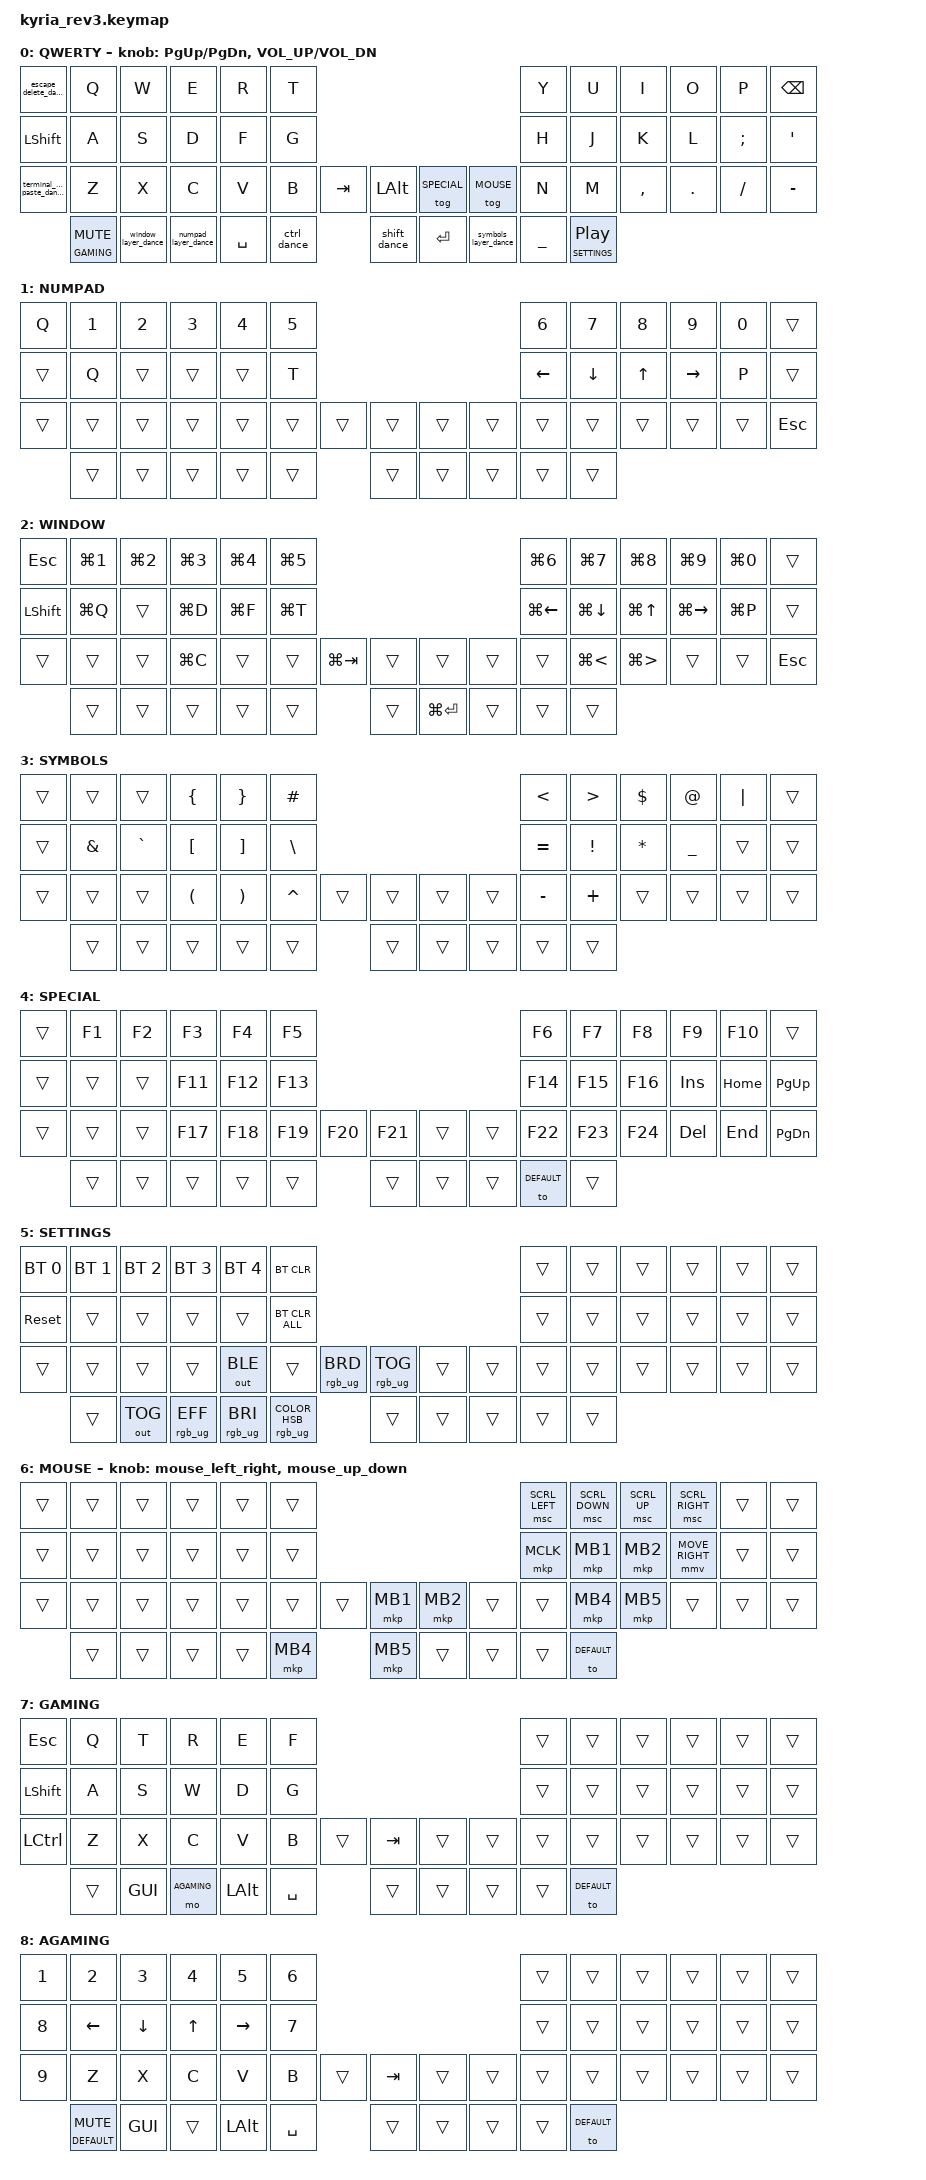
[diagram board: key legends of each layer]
/*
 * Copyright (c) 2023 The ZMK Contributors
 *
 * SPDX-License-Identifier: MIT
 */

#include <behaviors.dtsi>
#include <dt-bindings/zmk/bt.h>
#include <dt-bindings/zmk/keys.h>

// This is needed for mousing
#include <dt-bindings/zmk/pointing.h>

// For RGB
#include <dt-bindings/zmk/rgb.h>
#include <dt-bindings/zmk/outputs.h>

// This is for auto layers
#include <behaviors/num_word.dtsi>

#define ZMK_POINTING_DEFAULT_SCRL_VAL 20
#define ZMK_POINTING_DEFAULT_MOVE_VAL 3000

// We define our layers
#define DEFAULT 0
// Almost like numpad, the idea is I expose numbers and arrow keys here?
#define NUMPAD 1
// We use this for window management navigation
#define WINDOW 2
// The idea here is we expose symbols I can use within VIM?
#define SYMBOLS 3
// The idea here is we need something for F keys and special num keys
#define SPECIAL 4
// The idea here is to allow me to change settings like BT, display, RGB etc
#define SETTINGS 5
// The idea here is we need a mouse layer for true keyboard only
#define MOUSE 6
// We define a simple gaming layer here
#define GAMING 7
// We need extra behavior, so add a map for arrows and numbers
#define AGAMING 8

// Define some things that need to work with my window manager
// #define MOD_KEY LGUI
#define MOD_KEY LEFT_ALT

&led_strip {
    // Defines my RGB chain length
    chain-length = <31>;
};

&lt {
    tapping-term-ms = <200>;
};

&caps_word {
    continue-list = <UNDERSCORE MINUS BACKSPACE>;
};

&mmv {
    x-input-code = <INPUT_REL_X>;
    y-input-code = <INPUT_REL_Y>;
    // We allow a half of max speed time for down press,
    // we can play around with this parameter
    time-to-max-speed-ms = <80>;
    // We move at a uniform acceleration
    acceleration-exponent = <1>;
};

&nice_view_spi { cs-gpios = <&gpio1 1 GPIO_ACTIVE_HIGH>; };

/ {
behaviors {

  lh_tog: behavior_layer_hold_toggle {
            compatible = "zmk,behavior-hold-tap";
            #binding-cells = <2>;
            flavor = "hold-preferred";
            tapping-term-ms = <200>;
            bindings = <&tog>, <&kp>;
        };

  mouse_up_down: mouse_up_down {
            compatible = "zmk,behavior-sensor-rotate";
            #sensor-binding-cells = <0>;
            tap-ms = <40>;
            bindings = <&mmv MOVE_UP>, <&mmv MOVE_DOWN>;
        };

  mouse_left_right: mouse_left_right {
            compatible = "zmk,behavior-sensor-rotate";
            #sensor-binding-cells = <0>;
            tap-ms = <40>;
            bindings = <&mmv MOVE_LEFT>, <&mmv MOVE_RIGHT>;
        };

  escape_delete_dance: escape_delete_dance {
      compatible = "zmk,behavior-tap-dance";
      label = "escape_delete_dance";
      #binding-cells = <0>;
      bindings = <&kp ESCAPE>, <&kp DELETE>;

      tapping-term-ms = <450>;
  };

  backspace_delete_dance: backspace_delete_dance {
      compatible = "zmk,behavior-tap-dance";
      label = "backspace_delete_dance";
      #binding-cells = <0>;
      bindings = <&kp BACKSPACE>, <&kp DELETE>;

      tapping-term-ms = <450>;
  };

  alt_dance: alt_dance {
            compatible = "zmk,behavior-tap-dance";
            label = "alt_dance";
            #binding-cells = <0>;
            tapping-term-ms = <450>;
            bindings = <&lm NUMPAD LEFT_ALT>, <&sk LSHIFT>, <&caps_word>;
        };

  td2: td2 {
            compatible = "zmk,behavior-tap-dance";
            label = "TD2";
            #binding-cells = <0>;
            tapping-term-ms = <450>;
            bindings = <&kp LEFT_SHIFT>, <&kp ENTER>;
        };

  ctrl_dance: ctrl_dance {
            compatible = "zmk,behavior-tap-dance";
            label = "ctrl_dance";
            #binding-cells = <0>;
            tapping-term-ms = <450>;
            bindings = <&kp LCTRL>, <&lm NUMPAD LEFT_ALT>;
        };

  shift_dance: shift_dance {
            compatible = "zmk,behavior-tap-dance";
            label = "shift_dance";
            #binding-cells = <0>;
            tapping-term-ms = <450>;
            bindings = <&sk LSHIFT>, <&caps_word>;
        };

  numpad_layer_dance: numpad_layer_dance {
      compatible = "zmk,behavior-tap-dance";
      label = "numpad_layer_dance";
      #binding-cells = <0>;
      bindings = <&sl NUMPAD>, <&num_layer NUMPAD>;

      tapping-term-ms = <250>;
  };

  window_layer_dance: window_layer_dance {
      compatible = "zmk,behavior-tap-dance";
      label = "window_layer_dance";
      #binding-cells = <0>;
      bindings = <&lm NUMPAD MOD_KEY>, <&win_layer WINDOW>;

      tapping-term-ms = <250>;
  };

  symbols_layer_dance: symbols_layer_dance {
      compatible = "zmk,behavior-tap-dance";
      label = "symbols_layer_dance";
      #binding-cells = <0>;
      bindings = <&sl SYMBOLS>, <&mo SYMBOLS>;

      tapping-term-ms = <250>;
  };

  terminal_copy_paste_dance: terminal_copy_paste_dance{
      compatible = "zmk,behavior-tap-dance";
      label = "terminal_copy_paste_dance";
      #binding-cells = <0>;
      bindings = <&kp LC(LS(C))>, <&kp LC(LS(V))>;

      tapping-term-ms = <250>;
  };

  // Primarily used to input my ip address and for vim navigation
  num_layer: num_layer {
      compatible = "zmk,behavior-auto-layer";
      #binding-cells = <1>;
      continue-list = <BSPC DOT COMMA PLUS MINUS>;
      ignore-numbers;
      ignore-alphas;
      };

  // This is to be used for window management navigation
  win_layer: win_layer {
      compatible = "zmk,behavior-auto-layer";
      #binding-cells = <1>;
      continue-list = <GREATER_THAN LESS_THAN ENTER LEFT_ALT MOD_KEY RIGHT LEFT DOWN UP_ARROW LEFT_SHIFT>;
      ignore-numbers;
      ignore-alphas;
      };
    };

    /**
    * Temporarily switches to a layer (`&mo`) while a modifier is held.
    * Analogous to QMK's `LM()`, using a parameterized macro.
    *
    * Params:
    *  1. Layer to switch to
    *  2. Modifier to press while layer is active
    *
    * Example:
    *  `&lm NUM_LAYER LSHIFT`
    */

    lm: lm {
      compatible = "zmk,behavior-macro-two-param";
      wait-ms = <0>;
      tap-ms = <0>;
      #binding-cells = <2>;
      bindings
        = <&macro_param_1to1>
        , <&macro_press &mo MACRO_PLACEHOLDER>
        , <&macro_param_2to1>
        , <&macro_press &kp MACRO_PLACEHOLDER>
        , <&macro_pause_for_release>
        , <&macro_param_2to1>
        , <&macro_release &kp MACRO_PLACEHOLDER>
        , <&macro_param_1to1>
        , <&macro_release &mo MACRO_PLACEHOLDER>
        ;
    };


    keymap {
        compatible = "zmk,keymap";

        default_layer {
            display-name = "QWERTY";
            bindings = <
              &escape_delete_dance  &kp Q  &kp W  &kp E             &kp R    &kp T                                                              &kp Y  &kp U      &kp I                      &kp O    &kp P     &kp BACKSPACE
              &kp LEFT_SHIFT  &kp A  &kp S  &kp D             &kp F    &kp G                                                              &kp H  &kp J      &kp K                      &kp L    &kp SEMI  &kp SQT
              &terminal_copy_paste_dance       &kp Z  &kp X  &kp C             &kp V    &kp B           &kp TAB    &kp LEFT_ALT   &tog SPECIAL           &tog MOUSE  &kp N  &kp M      &kp COMMA                  &kp DOT  &kp FSLH  &kp MINUS
                              &lh_tog GAMING C_MUTE &window_layer_dance &numpad_layer_dance &kp SPACE &ctrl_dance  &shift_dance &kp ENTER &symbols_layer_dance &kp UNDERSCORE  &lt SETTINGS C_PLAY_PAUSE
            >;

            sensor-bindings = <&inc_dec_kp PG_UP PG_DN &inc_dec_kp C_VOL_UP C_VOL_DN>;
        };

        numpad_layer {
            display-name = "NUMPAD";
            bindings = <
              &kp Q  &kp N1  &kp N2  &kp N3  &kp N4  &kp N5                                  &kp N6    &kp N7    &kp N8        &kp N9     &kp N0  &trans
              &trans  &kp Q  &trans  &trans  &trans  &kp T                                  &kp LEFT  &kp DOWN  &kp UP_ARROW  &kp RIGHT  &kp P  &trans
              &trans  &trans  &trans  &trans  &trans  &trans  &trans  &trans  &trans  &trans  &trans    &trans    &trans        &trans     &trans  &kp ESCAPE
                        &trans  &trans  &trans  &trans  &trans  &trans  &trans  &trans    &trans    &trans
            >;
        };

        window_layer {
            display-name = "WINDOW";
            bindings = <
              &kp ESCAPE  &kp LG(N1)  &kp LG(N2)  &kp LG(N3)  &kp LG(N4)  &kp LG(N5)                                  &kp LG(N6)    &kp LG(N7)    &kp LG(N8)        &kp LG(N9)     &kp LG(N0)  &trans
              &kp LEFT_SHIFT  &kp LG(Q)  &trans  &kp LG(D)  &kp LG(F)  &kp LG(T)                                  &kp LG(LEFT)  &kp LG(DOWN)  &kp LG(UP_ARROW)  &kp LG(RIGHT)  &kp LG(P)  &trans
              &trans  &trans  &trans  &kp LG(C)  &trans  &trans  &kp LG(TAB)  &trans             &trans  &trans  &trans    &kp LG(LESS_THAN)    &kp LG(GREATER_THAN)        &trans     &trans  &kp ESCAPE
                        &trans  &trans  &trans  &trans  &trans                              &trans  &kp LG(ENTER)  &trans    &trans    &trans
            >;
        };

        symbols_layer {
            display-name = "SYMBOLS";
            bindings = <
              &trans         &trans  &trans  &kp LEFT_BRACE &kp RIGHT_BRACE &kp HASH                                        &kp LESS_THAN  &kp GREATER_THAN  &kp DOLLAR    &kp AT_SIGN          &kp PIPE  &trans
              &trans  &kp AMPERSAND  &kp GRAVE  &kp LBKT &kp RBKT &kp BACKSLASH                                               &kp EQUAL      &kp EXCLAMATION   &kp ASTERISK  &kp UNDERSCORE  &trans    &trans
              &trans         &trans  &trans  &kp LEFT_PARENTHESIS  &kp RIGHT_PARENTHESIS &kp CARET  &trans  &trans  &trans  &trans  &kp MINUS         &kp PLUS          &trans        &trans          &trans    &trans
                               &trans     &trans                &trans                 &trans  &trans  &trans  &trans  &trans         &trans            &trans
            >;
        };

        special_layer {
            display-name = "SPECIAL";
            bindings = <
              &trans  &kp F1  &kp F2  &kp F3   &kp F4   &kp F5                                     &kp F6   &kp F7   &kp F8   &kp F9      &kp F10   &trans
              &trans  &trans  &trans  &kp F11  &kp F12  &kp F13                                    &kp F14  &kp F15  &kp F16  &kp INSERT  &kp HOME  &kp PAGE_UP
              &trans  &trans  &trans  &kp F17  &kp F18  &kp F19  &kp F20  &kp F21  &trans  &trans  &kp F22  &kp F23  &kp F24  &kp DELETE  &kp END   &kp PAGE_DOWN
                        &trans   &trans   &trans   &trans   &trans   &trans  &trans  &trans   &to DEFAULT   &trans
            >;
        };

        settings_layer {
            display-name = "SETTINGS";
            bindings = <
              &bt BT_SEL 0  &bt BT_SEL 1  &bt BT_SEL 2  &bt BT_SEL 3  &bt BT_SEL 4  &bt BT_CLR                                                                          &trans  &trans  &trans  &trans  &trans  &trans
              &sys_reset        &trans        &trans        &trans        &trans        &bt BT_CLR_ALL                                                                              &trans  &trans  &trans  &trans  &trans  &trans
              &trans        &trans        &trans        &trans        &out OUT_BLE        &trans           &rgb_ug RGB_BRD  &rgb_ug RGB_TOG                   &trans  &trans  &trans  &trans  &trans  &trans  &trans  &trans
                                          &trans        &out OUT_TOG        &rgb_ug RGB_EFF  &rgb_ug RGB_BRI  &rgb_ug RGB_COLOR_HSB(296,78,25)  &trans  &trans  &trans  &trans  &trans
            >;
        };

        mouse_layer {
            display-name = "MOUSE";
            bindings = <
              &trans  &trans  &trans  &trans  &trans  &trans                                         &msc SCRL_LEFT  &msc SCRL_DOWN  &msc SCRL_UP  &msc SCRL_RIGHT  &trans  &trans
              &trans  &trans  &trans  &trans  &trans  &trans                                         &mkp MCLK  &mkp MB1  &mkp MB2  &mmv MOVE_RIGHT  &trans  &trans
              &trans  &trans  &trans  &trans  &trans  &trans  &trans  &mkp MB1  &mkp MB2  &trans  &trans  &mkp MB4  &mkp MB5  &trans  &trans  &trans
                        &trans  &trans  &trans  &trans  &mkp MB4  &mkp MB5  &trans     &trans          &trans          &to DEFAULT
            >;

            sensor-bindings = <&mouse_left_right>, <&mouse_up_down>;
        };

        gaming_layer {
            display-name = "GAMING";
            bindings = <
              &kp ESCAPE    &kp Q &kp T  &kp R  &kp E   &kp F                                        &trans    &trans  &trans  &trans  &trans  &trans
              &kp LSHFT  &kp A &kp S  &kp W  &kp D   &kp G                                     &trans    &trans  &trans  &trans  &trans  &trans
              &kp LCTRL  &kp Z &kp X  &kp C  &kp V   &kp B        &trans  &kp TAB  &trans  &trans  &trans    &trans  &trans  &trans  &trans  &trans
                         &trans  &kp GUI  &mo AGAMING  &kp LEFT_ALT  &kp SPACE  &trans  &trans  &trans  &trans &to DEFAULT
            >;
        };

      gaming_layer_alt {
            display-name = "AGAMING";
            bindings = <
              &kp N1 &kp N2  &kp N3  &kp N4   &kp N5 &kp N6                                        &trans    &trans  &trans  &trans  &trans  &trans
              &kp N8  &kp LEFT &kp DOWN  &kp UP_ARROW  &kp RIGHT   &kp N7                                     &trans    &trans  &trans  &trans  &trans  &trans
              &kp N9 &kp Z &kp X  &kp C  &kp V   &kp B        &trans  &kp TAB  &trans  &trans  &trans    &trans  &trans  &trans  &trans  &trans
                         &lh_tog DEFAULT C_MUTE  &kp GUI  &trans  &kp LEFT_ALT  &kp SPACE  &trans  &trans  &trans  &trans &to DEFAULT
            >;
        };
    };
};
